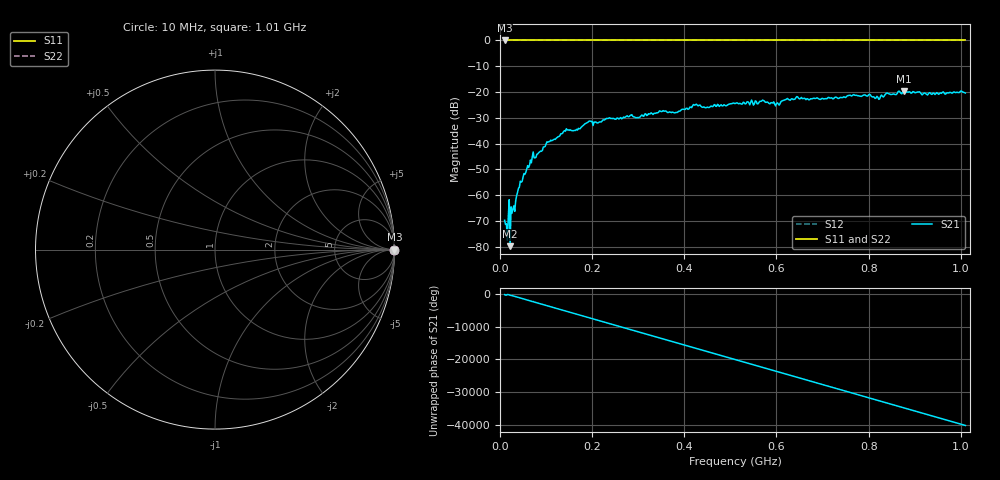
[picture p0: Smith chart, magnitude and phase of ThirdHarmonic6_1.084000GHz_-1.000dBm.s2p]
! 8/16/2025 10:00:02 AM
! C:\ANRITSUVNA\TEMP\TEMP.S2P
! CHANNEL.1
! TR.MEASUREMENT
! RAW.DATA
! RF.CORRECTION.OFF
! AVERAGING.OFF
! IF.BANDWIDTH: 5KHZ
! SWEEPTYPE:  FREQ.SWEEP(Linear)
! Reference Plane Port Info
! PORT:  PORT1  PORT2
! DISTANCE:  0  m  0  m
! TIME:  0  s  0  s
! PHASE.OFFSET:  0  deg.  0  deg.
! LOSS:  0  dB  0  dB
! REF.LOSS:  0  dB  0  dB
! REF.FREQ:  0  Hz  0  Hz
! Power Info
! POWER:  -20  dBm  -20  dBm
! EFF.POWER:  -20  dBm  -20  dBm
! SOURCE.ATTEN:  0  dB  0  dB
! TEST.ATTEN:  0  dB  0  dB
# GHZ S RI R 50.0
! FREQ.GHZ  S11RE  S11IM  S21RE  S21IM  S12RE  S12IM  S22RE  S22IM
!; PortSelection: Port_12
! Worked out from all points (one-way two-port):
!   501 points, 10 MHz to 1.01 GHz, reference 50 ohm
!   highest |S21| = -19.56 dB at 876 MHz (marker M1); lowest = -79.8 dB at 22 MHz (marker M2)
!   lowest |S11| = 0.0 dB at 10 MHz (marker M3)
!   |S11| at or under -10 dB: nowhere
!   |S22| runs from 0.0 to 0.0 dB; largest |S21 - S12| = 1.1
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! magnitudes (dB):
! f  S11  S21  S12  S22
! 10 MHz  0.0  -69.8  0.0  0.0
! 12 MHz  0.0  -71.4  0.0  0.0
! 16 MHz  0.0  -77.6  0.0  0.0
! 18 MHz  0.0  -68.4  0.0  0.0
! 22 MHz  0.0  -79.8  0.0  0.0
! 26 MHz  0.0  -67.0  0.0  0.0
! 28 MHz  0.0  -65.4  0.0  0.0
! 42 MHz  0.0  -57.0  0.0  0.0
! 70 MHz  0.0  -45.2  0.0  0.0
! 142 MHz  0.0  -35.2  0.0  0.0
! 178 MHz  0.0  -33.4  0.0  0.0
! 196 MHz  0.0  -31.3  0.0  0.0
! 344 MHz  0.0  -27.9  0.0  0.0
! 510 MHz  0.0  -24.5  0.0  0.0
! 570 MHz  0.0  -23.2  0.0  0.0
! 602 MHz  0.0  -24.2  0.0  0.0
! 622 MHz  0.0  -22.7  0.0  0.0
! 678 MHz  0.0  -22.6  0.0  0.0
! 820 MHz  0.0  -22.0  0.0  0.0
! 844 MHz  0.0  -20.7  0.0  0.0
! 876 MHz  0.0  -19.6  0.0  0.0
! 1.01 GHz  0.0  -20.4  0.0  0.0
